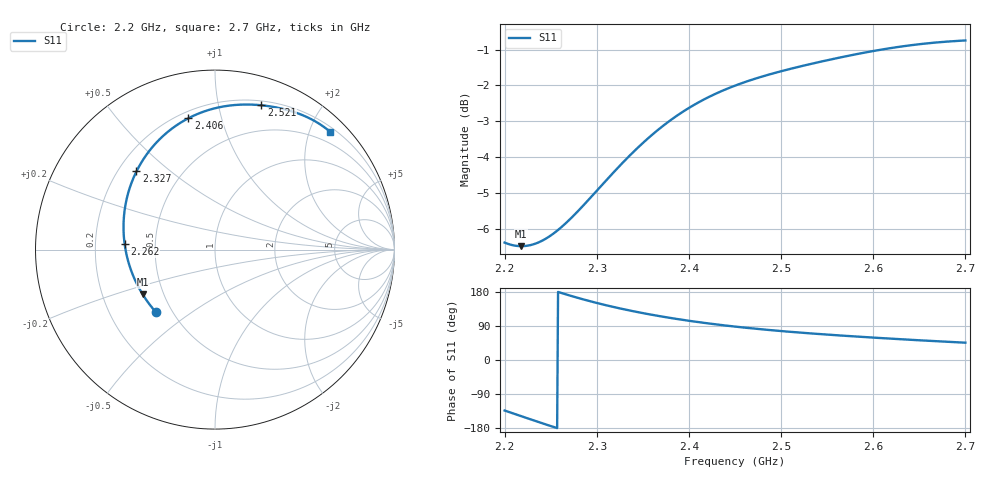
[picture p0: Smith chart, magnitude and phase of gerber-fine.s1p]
! PRELIMINARY bare PCB unless shell_eps > 0; see README.md
! L220 output ($1N324); all Gerber copper, components omitted (C216/L220/C217 not populated)
# Hz S RI R 50
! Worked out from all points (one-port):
!   501 points, 2.2 GHz to 2.7 GHz, reference 50 ohm
!   lowest |S11| = -6.5 dB at 2.218 GHz (marker M1), VSWR 2.80, Z = 19.1 - j12.3 ohm
!   |S11| at or under -10 dB: nowhere
!   S11 on the Smith chart (normalised r, x): 2.2 GHz: 0.41, -0.37; 2.262 GHz: 0.33, +0.03; 2.327 GHz: 0.27, +0.39; 2.406 GHz: 0.24, +0.79; 2.521 GHz: 0.24, +1.34; 2.7 GHz: 0.28, +2.34
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2.2e9  -0.3288 -0.3488
2.205e9  -0.3509 -0.3228
2.218e9  -0.4026 -0.2501
2.229e9  -0.4389 -0.1839
2.24e9  -0.468 -0.1143
2.251e9  -0.4895 -0.0425
2.262e9  -0.5033 0.0305
2.263e9  -0.5042 0.0372
2.278e9  -0.5097 0.1369
2.293e9  -0.5014 0.2344
2.309e9  -0.4784 0.3334
2.325e9  -0.4427 0.425
2.327e9  -0.4375 0.4358
2.343e9  -0.39 0.5169
2.358e9  -0.3383 0.5833
2.373e9  -0.2815 0.6402
2.388e9  -0.2216 0.6874
2.406e9  -0.1481 0.7319
2.427e9  -0.0632 0.7687
2.45e9  0.0256 0.7934
2.479e9  0.1284 0.8069
2.513e9  0.2348 0.8062
2.521e9  0.2578 0.8042
2.575e9  0.3979 0.7791
2.607e9  0.4709 0.7557
2.638e9  0.5352 0.7272
2.671e9  0.5955 0.6914
2.7e9  0.641 0.6569
